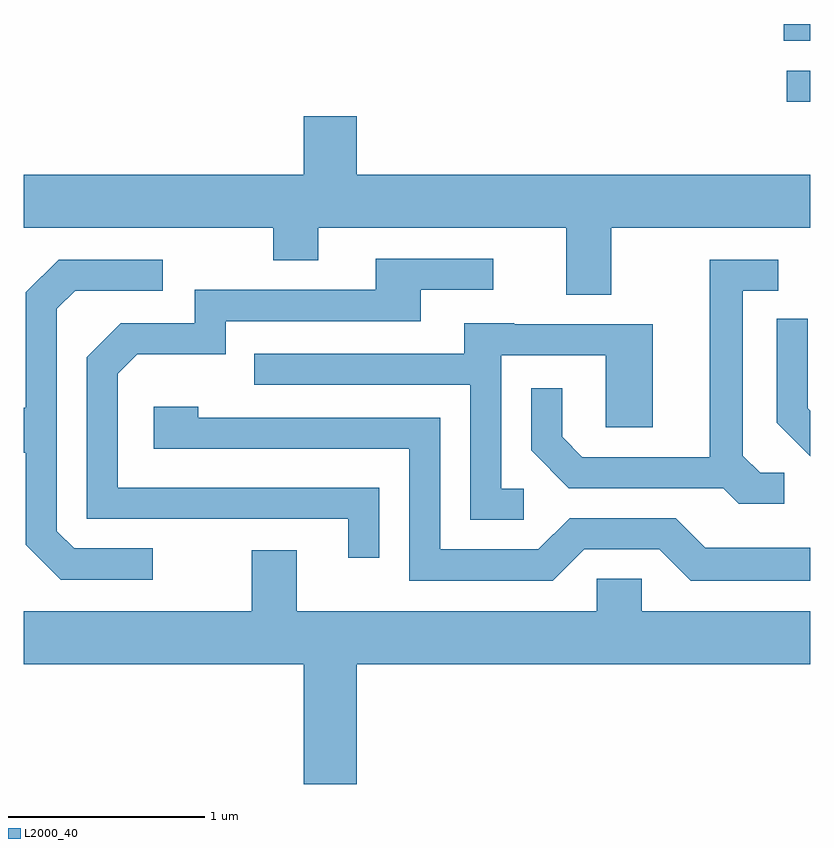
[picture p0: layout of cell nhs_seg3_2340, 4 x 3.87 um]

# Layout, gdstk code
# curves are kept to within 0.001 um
import gdstk
lib = gdstk.Library(unit=1e-6, precision=1e-09)
def R(c, l, rs):  # rectangles x0, y0, x1, y1
    for r in rs: c.add(gdstk.rectangle(r[:2], r[2:], *l))
def P(c, l, *ps):  # polygons
    for p in ps: c.add(gdstk.Polygon(p, *l))
L2000_40 = (2000, 40)

nhs_seg3_2340 = lib.new_cell('nhs_seg3_2340')
R(nhs_seg3_2340, L2000_40, [(257.493,1175.496,257.611,1175.654), (257.476,1175.806,257.611,1175.892)])
P(nhs_seg3_2340, L2000_40, [(256.599,1174.856),(257.611,1174.856),(257.611,1175.124),(255.304,1175.124),(255.304,1175.424),(255.036,1175.424),(255.036,1175.124),(253.611,1175.124),(253.611,1174.856),(254.881,1174.856),(254.881,1174.691),(255.109,1174.691),(255.109,1174.856),(256.371,1174.856),(256.371,1174.516),(256.599,1174.516)],
  [(255.419,1173.534),(254.089,1173.534),(254.089,1174.114),(254.187,1174.211),(254.639,1174.211),(254.639,1174.381),(255.629,1174.381),(255.629,1174.541),(255.998,1174.541),(255.998,1174.699),(255.401,1174.699),(255.401,1174.539),(254.481,1174.539),(254.481,1174.369),(254.104,1174.369),(253.931,1174.197),(253.931,1173.376),(255.261,1173.376),(255.261,1173.178),(255.419,1173.178)],
  [(257.478,1173.609),(257.356,1173.609),(257.269,1173.697),(257.269,1174.536),(257.448,1174.536),(257.448,1174.694),(257.101,1174.694),(257.101,1173.689),(256.452,1173.689),(256.349,1173.792),(256.349,1174.038),(256.191,1174.038),(256.191,1173.724),(256.384,1173.531),(257.169,1173.531),(257.248,1173.451),(257.478,1173.451)],
  [(254.268,1173.224),(253.867,1173.224),(253.779,1173.312),(253.779,1174.444),(253.872,1174.536),(254.318,1174.536),(254.318,1174.694),(253.789,1174.694),(253.621,1174.527),(253.621,1173.939),(253.611,1173.939),(253.611,1173.711),(253.621,1173.711),(253.621,1173.244),(253.799,1173.066),(254.268,1173.066)],
  [(257.611,1173.925),(257.599,1173.937),(257.599,1174.393),(257.441,1174.393),(257.441,1173.864),(257.611,1173.694)],
  [(256.153,1173.529),(256.039,1173.529),(256.039,1174.206),(256.571,1174.206),(256.571,1173.841),(256.809,1173.841),(256.809,1174.364),(256.105,1174.364),(256.105,1174.369),(255.851,1174.369),(255.851,1174.214),(254.783,1174.214),(254.783,1174.056),(255.881,1174.056),(255.881,1173.371),(256.153,1173.371)],
  [(256.462,1173.221),(256.844,1173.221),(257.004,1173.061),(257.611,1173.061),(257.611,1173.229),(257.077,1173.229),(256.927,1173.379),(256.389,1173.379),(256.229,1173.219),(255.729,1173.219),(255.729,1173.889),(254.499,1173.889),(254.499,1173.944),(254.271,1173.944),(254.271,1173.731),(255.571,1173.731),(255.571,1173.061),(256.302,1173.061)],
  [(255.304,1172.636),(257.611,1172.636),(257.611,1172.904),(256.754,1172.904),(256.754,1173.069),(256.526,1173.069),(256.526,1172.904),(254.999,1172.904),(254.999,1173.214),(254.771,1173.214),(254.771,1172.904),(253.611,1172.904),(253.611,1172.636),(255.036,1172.636),(255.036,1172.026),(255.304,1172.026)])

lib.write_gds('nhs_seg3_2340.gds')
